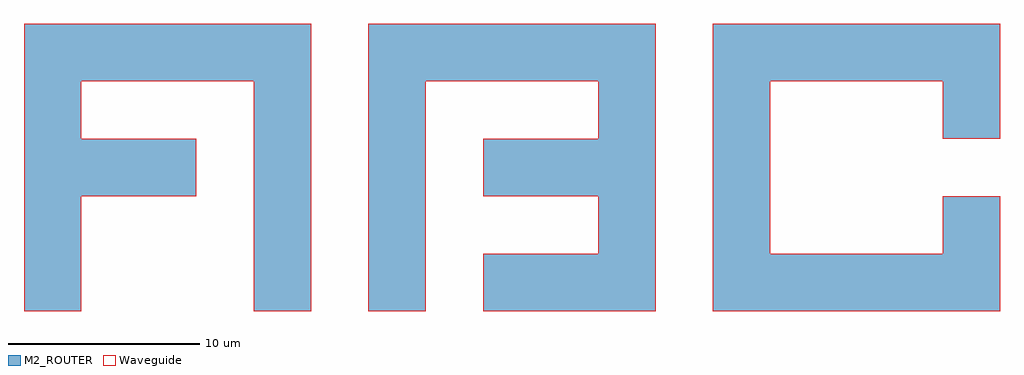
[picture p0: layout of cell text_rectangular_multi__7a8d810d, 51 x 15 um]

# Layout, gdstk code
import gdstk
lib = gdstk.Library(unit=1e-6, precision=1e-09)
def P(c, l, *ps):  # polygons
    for p in ps: c.add(gdstk.Polygon(p, *l))
Waveguide = (1, 0)
M2_ROUTER = (12, 0)

text_rectangular_tabc_s_ = lib.new_cell('text_rectangular_Tabc_S_38250b67')
P(text_rectangular_tabc_s_, M2_ROUTER, [(36,0),(36,15),(51,15),(51,9),(48,9),(48,12),(39,12),(39,3),(48,3),(48,6),(51,6),(51,0)],
  [(18,0),(18,15),(33,15),(33,0),(24,0),(24,3),(30,3),(30,6),(24,6),(24,9),(30,9),(30,12),(21,12),(21,0)],
  [(0,0),(0,15),(15,15),(15,0),(12,0),(12,12),(3,12),(3,9),(9,9),(9,6),(3,6),(3,0)])

c_text_rectangular_tabc_s_ = lib.new_cell('text_rectangular_Tabc_S_ded20486')
P(c_text_rectangular_tabc_s_, Waveguide, [(36,0),(36,15),(51,15),(51,9),(48,9),(48,12),(39,12),(39,3),(48,3),(48,6),(51,6),(51,0)],
  [(18,0),(18,15),(33,15),(33,0),(24,0),(24,3),(30,3),(30,6),(24,6),(24,9),(30,9),(30,12),(21,12),(21,0)],
  [(0,0),(0,15),(15,15),(15,0),(12,0),(12,12),(3,12),(3,9),(9,9),(9,6),(3,6),(3,0)])

text_rectangular_multi__ = lib.new_cell('text_rectangular_multi__7a8d810d')
text_rectangular_multi__.add(gdstk.Reference(text_rectangular_tabc_s_, (0,0)))
text_rectangular_multi__.add(gdstk.Reference(c_text_rectangular_tabc_s_, (0,0)))

lib.write_gds('text_rectangular_multi__7a8d810d.gds')
